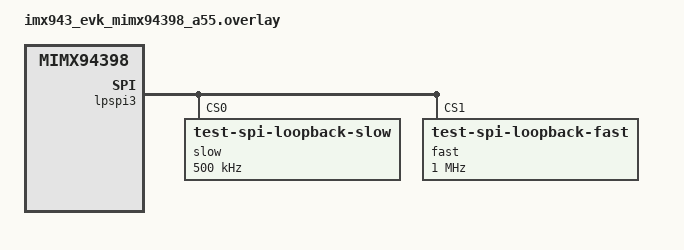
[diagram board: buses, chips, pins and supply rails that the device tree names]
/*
 * Copyright 2026 NXP
 *
 * SPDX-License-Identifier: Apache-2.0
 */

/* To test this sample, connect
 * LPSPI3 MOSI(J47-8) --> LPSPI3 MISO(J47-10)
 */

&lpspi3 {
	status = "okay";
	pinctrl-0 = <&lpspi3_default>;
	pinctrl-names = "default";

	slow@0 {
		compatible = "test-spi-loopback-slow";
		reg = <0>;
		spi-max-frequency = <500000>;
	};

	fast@1 {
		compatible = "test-spi-loopback-fast";
		reg = <1>;
		spi-max-frequency = <1000000>;
	};
};
